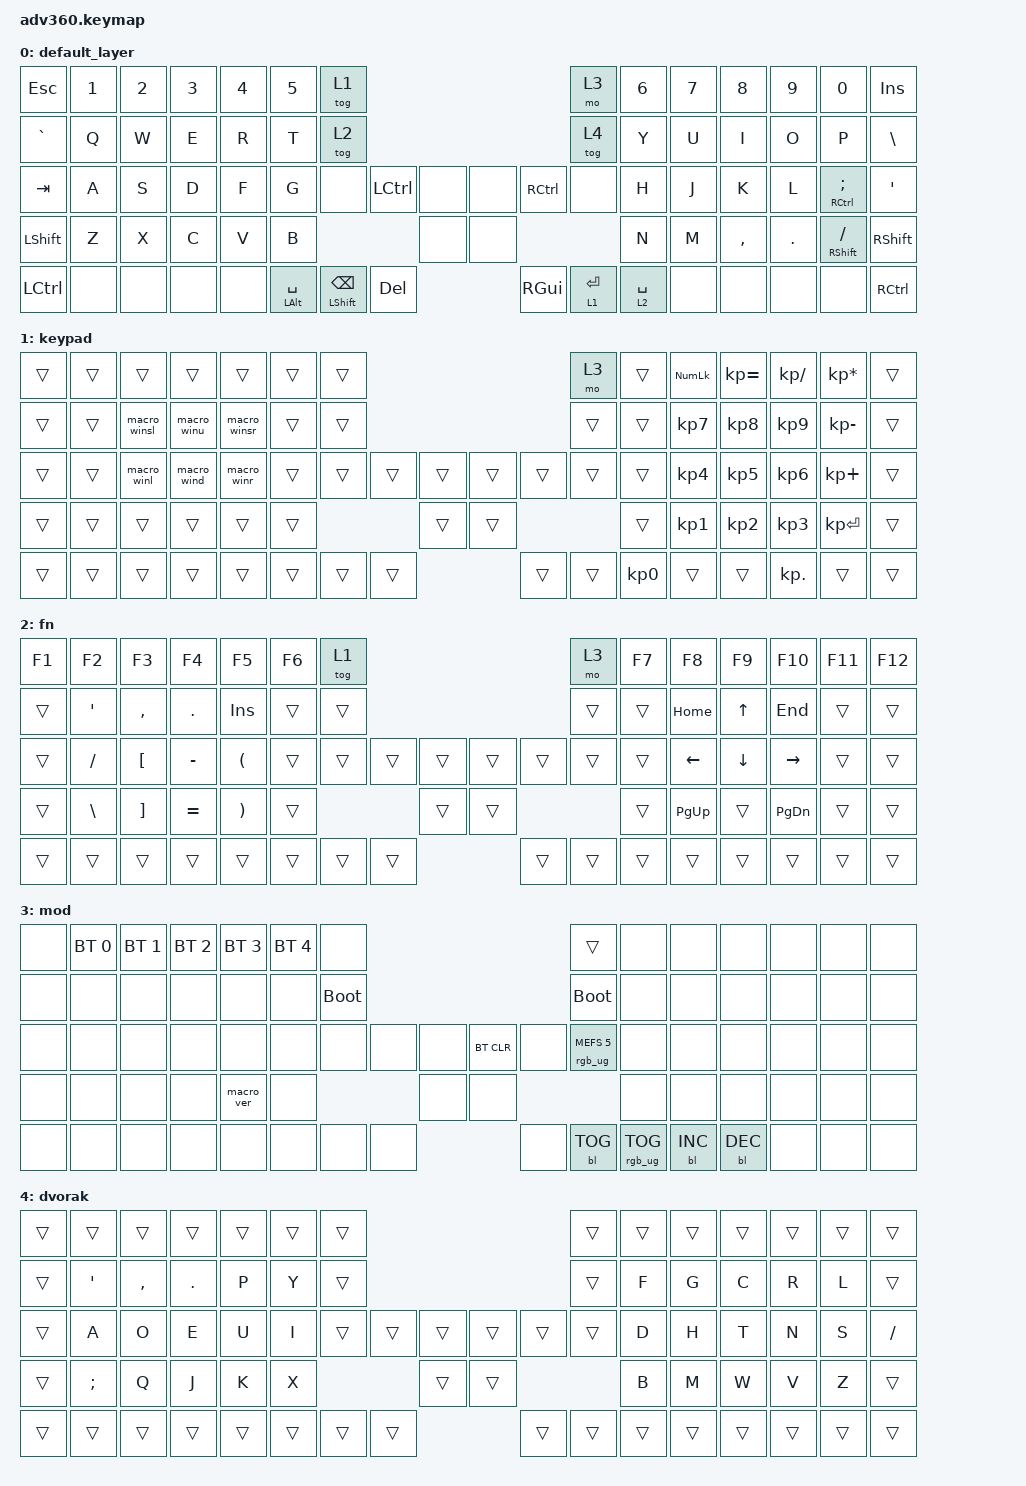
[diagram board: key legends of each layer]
#include <behaviors.dtsi>
#include <dt-bindings/zmk/keys.h>
#include <dt-bindings/zmk/bt.h>
#include <dt-bindings/zmk/rgb.h>
#include <dt-bindings/zmk/backlight.h>

/ {
    behaviors {
      #include "macros.dtsi"
      #include "version.dtsi"
      #ifndef VERSION_MACRO
      macro_ver: macro_ver {
        compatible = "zmk,behavior-macro";
        label = "macro_version";
        #binding-cells = <0>;
        bindings = <&kp RET>;
      };
      #endif

      hm: homerow_mods {
          compatible = "zmk,behavior-hold-tap";
          label = "HOMEROW_MODS";
          #binding-cells = <2>;
          tapping-term-ms = <200>;
          quick_tap_ms = <175>;
          flavor = "tap-preferred";
          bindings = <&kp>, <&kp>;
      };
    };

  keymap {
    compatible = "zmk,keymap";

    default_layer {
      bindings = <
        &kp ESC    &kp N1  &kp N2  &kp N3 &kp N4  &kp N5  &tog 1                                                                               &mo 3   &kp N6  &kp N7  &kp N8     &kp N9   &kp N0          &kp INS
        &kp GRAVE  &kp Q   &kp W   &kp E  &kp R   &kp T   &tog 2                                                                               &tog 4  &kp Y   &kp U   &kp I      &kp O    &kp P           &kp BSLH
        &kp TAB    &kp A   &kp S   &kp D  &kp F   &kp G   &none                   &kp LCTRL       &none    &none     &kp RCTRL                 &none   &kp H   &kp J   &kp K      &kp L    &mt RCTRL SEMI  &kp SQT
        &kp LSHFT  &kp Z   &kp X   &kp C  &kp V   &kp B                                           &none    &none                                       &kp N   &kp M   &kp COMMA  &kp DOT  &mt RSHFT FSLH  &kp RSHFT
        &kp LCTRL  &none   &none   &none  &none                   &mt LALT SPACE  &mt LSHFT BSPC  &kp DEL  &kp RGUI  &lt 1 ENTER  &lt 2 SPACE                  &none   &none      &none    &none           &kp RCTRL
      >;
    };
    keypad {
      bindings = <
        &trans  &trans  &trans        &trans       &trans        &trans  &trans                                                  &mo 3  &trans  &kp KP_NUM &kp KP_EQUAL &kp KP_DIVIDE &kp KP_MULTIPLY &trans
        &trans  &trans  &macro_winsl  &macro_winu  &macro_winsr  &trans  &trans                                                  &trans &trans  &kp KP_N7  &kp KP_N8    &kp KP_N9     &kp KP_MINUS    &trans
        &trans  &trans  &macro_winl   &macro_wind  &macro_winr   &trans  &trans         &trans  &trans  &trans  &trans           &trans &trans  &kp KP_N4  &kp KP_N5    &kp KP_N6     &kp KP_PLUS     &trans
        &trans  &trans  &trans        &trans       &trans        &trans                         &trans  &trans                          &trans  &kp KP_N1  &kp KP_N2    &kp KP_N3     &kp KP_ENTER    &trans
        &trans  &trans  &trans        &trans       &trans                       &trans  &trans  &trans  &trans  &trans  &kp KP_N0               &trans     &trans       &kp KP_DOT    &trans          &trans
      >;
    };
    fn {
      bindings = <
        &kp F1  &kp F2    &kp F3     &kp F4     &kp F5    &kp F6  &tog 1                                             &mo 3   &kp F7  &kp F8    &kp F9    &kp F10    &kp F11  &kp F12
        &trans  &kp SQT   &kp COMMA  &kp DOT    &kp INS   &trans  &trans                                             &trans  &trans  &kp HOME  &kp UP    &kp END    &trans   &trans
        &trans  &kp FSLH  &kp LBKT   &kp MINUS  &kp LPAR  &trans  &trans       &trans  &trans  &trans  &trans        &trans  &trans  &kp LEFT  &kp DOWN  &kp RIGHT  &trans   &trans
        &trans  &kp BSLH  &kp RBKT   &kp EQUAL  &kp RPAR  &trans                       &trans  &trans                        &trans  &kp PG_UP &trans    &kp PG_DN  &trans   &trans
        &trans  &trans    &trans     &trans     &trans                 &trans  &trans  &trans  &trans  &trans  &trans                &trans    &trans    &trans     &trans   &trans
      >;
    };
    mod {
      bindings = <
        &none &bt BT_SEL 0 &bt BT_SEL 1 &bt BT_SEL 2 &bt BT_SEL 3 &bt BT_SEL 4 &none                                                                     &trans                 &none        &none        &none        &none &none &none
        &none &none        &none        &none        &none        &none        &bootloader                                                               &bootloader            &none        &none        &none        &none &none &none
        &none &none        &none        &none        &none        &none        &none                   &none &none &bt BT_CLR &none                      &rgb_ug RGB_MEFS_CMD 5 &none        &none        &none        &none &none &none
        &none &none        &none        &none        &macro_ver   &none                                      &none &none                                                        &none        &none        &none        &none &none &none
        &none &none        &none        &none        &none                                       &none &none &none &none      &bl BL_TOG &rgb_ug RGB_TOG                                     &bl BL_INC   &bl BL_DEC   &none &none &none
      >;
    };
    dvorak {
      bindings = <
        &trans  &trans    &trans     &trans   &trans  &trans  &trans                                              &trans  &trans  &trans  &trans  &trans  &trans  &trans
        &trans  &kp SQT   &kp COMMA  &kp DOT  &kp P   &kp Y   &trans                                              &trans  &kp F   &kp G   &kp C   &kp R   &kp L   &trans
        &trans  &kp A     &kp O      &kp E    &kp U   &kp I   &trans        &trans  &trans  &trans  &trans        &trans  &kp D   &kp H   &kp T   &kp N   &kp S   &kp FSLH
        &trans  &kp SEMI  &kp Q      &kp J    &kp K   &kp X                         &trans  &trans                        &kp B   &kp M   &kp W   &kp V   &kp Z   &trans
        &trans  &trans    &trans     &trans   &trans                &trans  &trans  &trans  &trans  &trans  &trans                &trans  &trans  &trans  &trans  &trans
      >;
    };
  };
};
